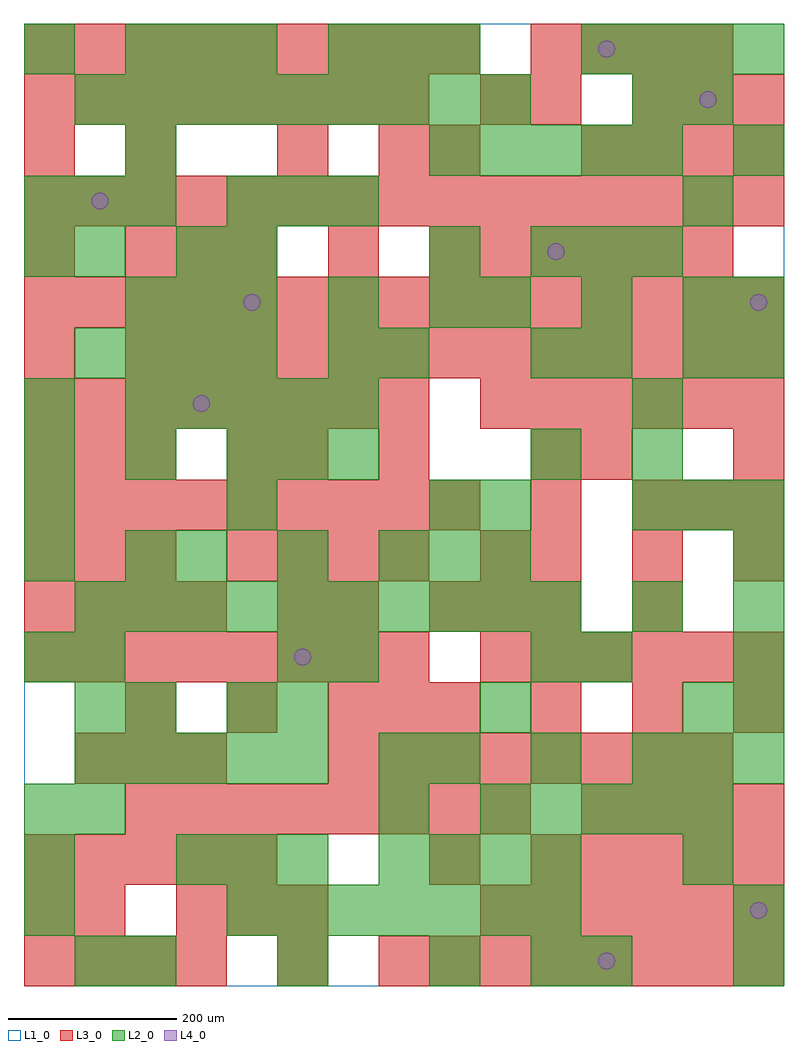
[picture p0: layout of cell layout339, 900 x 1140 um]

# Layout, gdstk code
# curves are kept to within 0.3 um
import gdstk
lib = gdstk.Library(unit=1e-6, precision=1e-09)
def R(c, l, rs):  # rectangles x0, y0, x1, y1
    for r in rs: c.add(gdstk.rectangle(r[:2], r[2:], *l))
def A(c, l, x, y, w, h, nx, ny, dx, dy):  # array of equal rectangles
    R(c, l, [(x+i*dx, y+j*dy, x+i*dx+w, y+j*dy+h) for i in range(nx) for j in range(ny)])
def P(c, l, *ps):  # polygons
    for p in ps: c.add(gdstk.Polygon(p, *l))
L1_0 = (1, 0)
L2_0 = (2, 0)
L3_0 = (3, 0)
L4_0 = (4, 0)

layout339 = lib.new_cell('layout339')
R(layout339, L1_0, [(0,0,900,1140)])
A(layout339, L2_0, 120, 0, 60, 60, 3, 1, 180, 0)
A(layout339, L2_0, 660, 0, 60, 60, 1, 3, 0, 360)
A(layout339, L2_0, 0, 60, 60, 60, 1, 3, 0, 60)
A(layout339, L2_0, 240, 60, 60, 60, 7, 1, 60, 0)
A(layout339, L2_0, 180, 120, 60, 60, 3, 1, 60, 0)
A(layout339, L2_0, 420, 120, 60, 60, 4, 1, 60, 0)
A(layout339, L2_0, 540, 180, 60, 60, 5, 1, 60, 0)
A(layout339, L2_0, 60, 240, 60, 60, 5, 1, 60, 0)
A(layout339, L2_0, 480, 240, 60, 60, 3, 1, 120, 0)
A(layout339, L2_0, 840, 240, 60, 60, 1, 5, 0, 60)
A(layout339, L2_0, 300, 300, 60, 60, 3, 1, 240, 0)
A(layout339, L2_0, 60, 420, 60, 60, 10, 1, 60, 0)
A(layout339, L2_0, 0, 480, 60, 60, 1, 3, 0, 180)
A(layout339, L2_0, 180, 480, 60, 60, 3, 1, 120, 0)
A(layout339, L2_0, 0, 540, 60, 60, 3, 1, 240, 0)
A(layout339, L2_0, 720, 540, 60, 60, 3, 1, 60, 0)
A(layout339, L2_0, 0, 600, 60, 60, 3, 1, 120, 0)
A(layout339, L2_0, 120, 660, 60, 60, 5, 1, 60, 0)
A(layout339, L2_0, 60, 720, 60, 60, 4, 1, 60, 0)
A(layout339, L2_0, 120, 780, 60, 60, 3, 2, 60, 300)
A(layout339, L2_0, 540, 780, 60, 60, 3, 1, 120, 0)
A(layout339, L2_0, 600, 840, 60, 60, 3, 1, 60, 0)
A(layout339, L2_0, 0, 900, 60, 60, 3, 1, 60, 0)
A(layout339, L2_0, 240, 900, 60, 60, 3, 1, 60, 0)
A(layout339, L2_0, 480, 960, 60, 60, 5, 1, 60, 0)
A(layout339, L2_0, 60, 1020, 60, 60, 9, 1, 60, 0)
A(layout339, L2_0, 360, 1080, 60, 60, 3, 1, 60, 0)
A(layout339, L2_0, 660, 1080, 60, 60, 4, 1, 60, 0)
R(layout339, L2_0, [(60,0,120,60), (600,0,660,60), (840,0,900,60), (840,60,900,120), (780,120,840,180), (60,180,120,240), (420,180,480,240), (420,240,480,300), (780,240,840,300), (60,300,120,360), (120,300,180,360), (240,300,300,360), (0,360,60,420), (60,360,120,420), (300,360,360,420), (360,360,420,420), (600,360,660,420), (720,420,780,480), (120,480,180,540), (480,480,540,540), (540,480,600,540), (540,540,600,600), (300,600,360,660), (360,600,420,660), (600,600,660,660), (720,600,780,660), (720,660,780,720), (360,720,420,780), (420,720,480,780), (600,720,660,780), (780,720,840,780), (840,720,900,780), (360,780,420,840), (480,780,540,840), (840,780,900,840), (60,840,120,900), (180,840,240,900), (240,840,300,900), (480,840,540,900), (780,900,840,960), (120,960,180,1020), (840,960,900,1020), (720,1020,780,1080), (780,1020,840,1080), (0,1080,60,1140)])
A(layout339, L3_0, 0, 0, 60, 60, 4, 2, 60, 420)
A(layout339, L3_0, 420, 0, 60, 60, 8, 1, 60, 0)
A(layout339, L3_0, 180, 60, 60, 60, 3, 1, 60, 0)
A(layout339, L3_0, 540, 60, 60, 60, 6, 3, 60, 300)
A(layout339, L3_0, 0, 120, 60, 60, 5, 1, 60, 0)
A(layout339, L3_0, 600, 120, 60, 60, 5, 1, 60, 0)
A(layout339, L3_0, 120, 180, 60, 60, 8, 1, 60, 0)
A(layout339, L3_0, 660, 180, 60, 60, 4, 2, 60, 780)
A(layout339, L3_0, 60, 240, 60, 60, 3, 1, 60, 0)
A(layout339, L3_0, 360, 240, 60, 60, 8, 1, 60, 0)
A(layout339, L3_0, 120, 300, 60, 60, 3, 1, 120, 0)
A(layout339, L3_0, 480, 300, 60, 60, 4, 1, 120, 0)
A(layout339, L3_0, 0, 360, 60, 60, 8, 2, 60, 300)
A(layout339, L3_0, 480, 420, 60, 60, 3, 1, 60, 0)
A(layout339, L3_0, 0, 480, 60, 60, 3, 2, 60, 120)
A(layout339, L3_0, 240, 480, 60, 60, 4, 1, 60, 0)
A(layout339, L3_0, 600, 480, 60, 60, 3, 1, 120, 0)
A(layout339, L3_0, 0, 540, 60, 60, 9, 2, 60, 540)
A(layout339, L3_0, 720, 540, 60, 60, 3, 2, 60, 480)
A(layout339, L3_0, 0, 720, 60, 60, 1, 3, 0, 120)
A(layout339, L3_0, 120, 720, 60, 60, 13, 1, 60, 0)
A(layout339, L3_0, 0, 780, 60, 60, 15, 2, 60, 120)
A(layout339, L3_0, 120, 840, 60, 60, 3, 1, 60, 0)
A(layout339, L3_0, 480, 840, 60, 60, 6, 1, 60, 0)
A(layout339, L3_0, 0, 1020, 60, 60, 8, 1, 60, 0)
A(layout339, L3_0, 600, 1080, 60, 60, 4, 1, 60, 0)
R(layout339, L3_0, [(300,0,360,60), (0,60,60,120), (60,60,120,120), (480,120,540,180), (420,300,480,360), (300,420,360,480), (360,420,420,480), (720,420,780,480), (540,480,600,540), (600,540,660,600), (240,600,300,660), (300,600,360,660), (420,600,480,660), (600,600,660,660), (660,600,720,660), (840,600,900,660), (360,840,420,900), (120,960,180,1020), (300,960,360,1020), (420,960,480,1020), (480,960,540,1020), (540,1020,600,1080), (600,1020,660,1080)])
P(layout339, L4_0, [(100,930),(99.239,933.827),(97.071,937.071),(93.827,939.239),(90,940),(86.173,939.239),(82.929,937.071),(80.761,933.827),(80,930),(80.761,926.173),(82.929,922.929),(86.173,920.761),(90,920),(93.827,920.761),(97.071,922.929),(99.239,926.173)],
  [(220,690),(219.239,693.827),(217.071,697.071),(213.827,699.239),(210,700),(206.173,699.239),(202.929,697.071),(200.761,693.827),(200,690),(200.761,686.173),(202.929,682.929),(206.173,680.761),(210,680),(213.827,680.761),(217.071,682.929),(219.239,686.173)],
  [(280,810),(279.239,813.827),(277.071,817.071),(273.827,819.239),(270,820),(266.173,819.239),(262.929,817.071),(260.761,813.827),(260,810),(260.761,806.173),(262.929,802.929),(266.173,800.761),(270,800),(273.827,800.761),(277.071,802.929),(279.239,806.173)],
  [(340,390),(339.239,393.827),(337.071,397.071),(333.827,399.239),(330,400),(326.173,399.239),(322.929,397.071),(320.761,393.827),(320,390),(320.761,386.173),(322.929,382.929),(326.173,380.761),(330,380),(333.827,380.761),(337.071,382.929),(339.239,386.173)],
  [(640,870),(639.239,873.827),(637.071,877.071),(633.827,879.239),(630,880),(626.173,879.239),(622.929,877.071),(620.761,873.827),(620,870),(620.761,866.173),(622.929,862.929),(626.173,860.761),(630,860),(633.827,860.761),(637.071,862.929),(639.239,866.173)],
  [(700,30),(699.239,33.827),(697.071,37.071),(693.827,39.239),(690,40),(686.173,39.239),(682.929,37.071),(680.761,33.827),(680,30),(680.761,26.173),(682.929,22.929),(686.173,20.761),(690,20),(693.827,20.761),(697.071,22.929),(699.239,26.173)],
  [(700,1110),(699.239,1113.827),(697.071,1117.071),(693.827,1119.239),(690,1120),(686.173,1119.239),(682.929,1117.071),(680.761,1113.827),(680,1110),(680.761,1106.173),(682.929,1102.929),(686.173,1100.761),(690,1100),(693.827,1100.761),(697.071,1102.929),(699.239,1106.173)],
  [(820,1050),(819.239,1053.827),(817.071,1057.071),(813.827,1059.239),(810,1060),(806.173,1059.239),(802.929,1057.071),(800.761,1053.827),(800,1050),(800.761,1046.173),(802.929,1042.929),(806.173,1040.761),(810,1040),(813.827,1040.761),(817.071,1042.929),(819.239,1046.173)],
  [(880,90),(879.239,93.827),(877.071,97.071),(873.827,99.239),(870,100),(866.173,99.239),(862.929,97.071),(860.761,93.827),(860,90),(860.761,86.173),(862.929,82.929),(866.173,80.761),(870,80),(873.827,80.761),(877.071,82.929),(879.239,86.173)],
  [(880,810),(879.239,813.827),(877.071,817.071),(873.827,819.239),(870,820),(866.173,819.239),(862.929,817.071),(860.761,813.827),(860,810),(860.761,806.173),(862.929,802.929),(866.173,800.761),(870,800),(873.827,800.761),(877.071,802.929),(879.239,806.173)])

lib.write_gds('layout339.gds')
